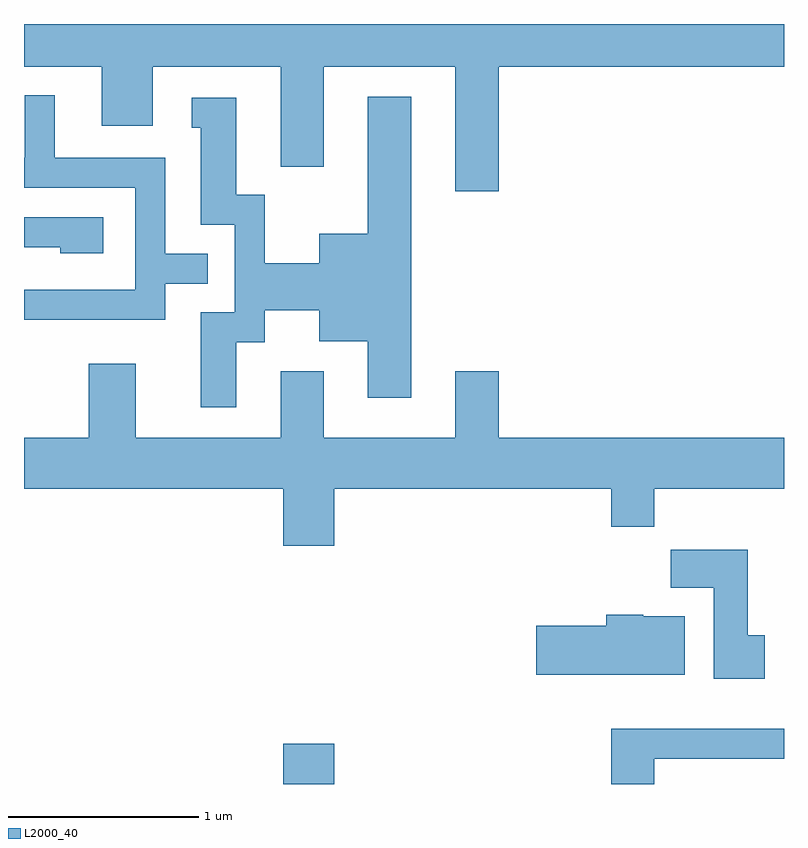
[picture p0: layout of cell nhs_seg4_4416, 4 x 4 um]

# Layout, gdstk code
import gdstk
lib = gdstk.Library(unit=1e-6, precision=1e-09)
def R(c, l, rs):  # rectangles x0, y0, x1, y1
    for r in rs: c.add(gdstk.rectangle(r[:2], r[2:], *l))
def P(c, l, *ps):  # polygons
    for p in ps: c.add(gdstk.Polygon(p, *l))
L2000_40 = (2000, 40)

nhs_seg4_4416 = lib.new_cell('nhs_seg4_4416')
R(nhs_seg4_4416, L2000_40, [(314.976,1381.982,315.244,1382.194)])
P(nhs_seg4_4416, L2000_40, [(316.109,1385.756),(317.611,1385.756),(317.611,1385.982),(313.611,1385.982),(313.611,1385.756),(314.021,1385.756),(314.021,1385.446),(314.289,1385.446),(314.289,1385.756),(314.961,1385.756),(314.961,1385.231),(315.189,1385.231),(315.189,1385.756),(315.881,1385.756),(315.881,1385.101),(316.109,1385.101)],
  [(314.354,1384.616),(314.578,1384.616),(314.578,1384.774),(314.354,1384.774),(314.354,1385.279),(313.774,1385.279),(313.774,1385.608),(313.616,1385.608),(313.616,1385.279),(313.611,1385.279),(313.611,1385.121),(314.196,1385.121),(314.196,1384.584),(313.611,1384.584),(313.611,1384.426),(314.354,1384.426)],
  [(314.729,1384.306),(314.879,1384.306),(314.879,1384.476),(315.166,1384.476),(315.166,1384.311),(315.421,1384.311),(315.421,1384.016),(315.649,1384.016),(315.649,1385.599),(315.421,1385.599),(315.421,1384.879),(315.166,1384.879),(315.166,1384.724),(314.879,1384.724),(314.879,1385.084),(314.729,1385.084),(314.729,1385.594),(314.493,1385.594),(314.493,1385.436),(314.541,1385.436),(314.541,1384.926),(314.721,1384.926),(314.721,1384.464),(314.541,1384.464),(314.541,1383.966),(314.729,1383.966)],
  [(314.029,1384.964),(313.611,1384.964),(313.611,1384.806),(313.801,1384.806),(313.801,1384.776),(314.029,1384.776)],
  [(315.244,1383.536),(316.701,1383.536),(316.701,1383.336),(316.929,1383.336),(316.929,1383.536),(317.611,1383.536),(317.611,1383.804),(316.109,1383.804),(316.109,1384.154),(315.881,1384.154),(315.881,1383.804),(315.189,1383.804),(315.189,1384.154),(314.961,1384.154),(314.961,1383.804),(314.199,1383.804),(314.199,1384.194),(313.951,1384.194),(313.951,1383.804),(313.611,1383.804),(313.611,1383.536),(314.976,1383.536),(314.976,1383.236),(315.244,1383.236)],
  [(317.509,1382.764),(317.419,1382.764),(317.419,1383.214),(317.016,1383.214),(317.016,1383.016),(317.241,1383.016),(317.241,1382.536),(317.509,1382.536)],
  [(317.089,1382.864),(316.87,1382.864),(316.87,1382.874),(316.676,1382.874),(316.676,1382.814),(316.306,1382.814),(316.306,1382.556),(317.089,1382.556)],
  [(316.929,1382.116),(317.611,1382.116),(317.611,1382.274),(316.701,1382.274),(316.701,1381.982),(316.929,1381.982)])

lib.write_gds('nhs_seg4_4416.gds')
